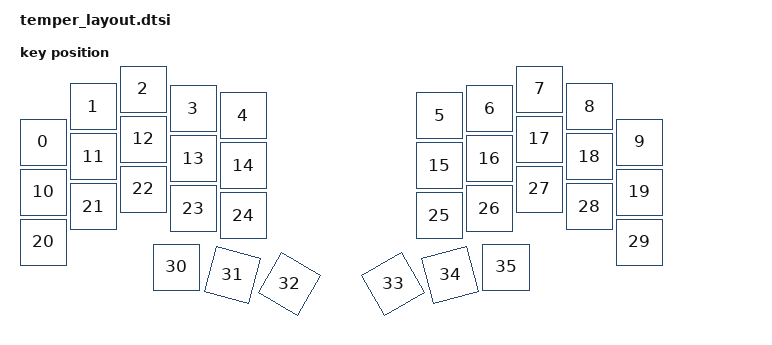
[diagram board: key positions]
#include <physical_layouts.dtsi>
#include "temper_matrix_transform.dtsi"

/ {
    physical_layout0: physical_layout_0 {
        compatible = "zmk,physical-layout";
        display-name = "LAYOUT";

        kscan = <&mock_kscan>;
        transform = <&default_transform>;

        keys  //                     w   h    x    y     rot    rx    ry
            = <&key_physical_attrs 100 100    0  106       0     0     0>
            , <&key_physical_attrs 100 100  100   35       0     0     0>
            , <&key_physical_attrs 100 100  200    0       0     0     0>
            , <&key_physical_attrs 100 100  300   39       0     0     0>
            , <&key_physical_attrs 100 100  400   53       0     0     0>
            , <&key_physical_attrs 100 100  793   53       0     0     0>
            , <&key_physical_attrs 100 100  893   39       0     0     0>
            , <&key_physical_attrs 100 100  993    0       0     0     0>
            , <&key_physical_attrs 100 100 1093   35       0     0     0>
            , <&key_physical_attrs 100 100 1193  106       0     0     0>
            , <&key_physical_attrs 100 100    0  206       0     0     0>
            , <&key_physical_attrs 100 100  100  135       0     0     0>
            , <&key_physical_attrs 100 100  200  100       0     0     0>
            , <&key_physical_attrs 100 100  300  139       0     0     0>
            , <&key_physical_attrs 100 100  400  153       0     0     0>
            , <&key_physical_attrs 100 100  793  153       0     0     0>
            , <&key_physical_attrs 100 100  893  139       0     0     0>
            , <&key_physical_attrs 100 100  993  100       0     0     0>
            , <&key_physical_attrs 100 100 1093  135       0     0     0>
            , <&key_physical_attrs 100 100 1193  206       0     0     0>
            , <&key_physical_attrs 100 100    0  306       0     0     0>
            , <&key_physical_attrs 100 100  100  235       0     0     0>
            , <&key_physical_attrs 100 100  200  200       0     0     0>
            , <&key_physical_attrs 100 100  300  239       0     0     0>
            , <&key_physical_attrs 100 100  400  253       0     0     0>
            , <&key_physical_attrs 100 100  793  253       0     0     0>
            , <&key_physical_attrs 100 100  893  239       0     0     0>
            , <&key_physical_attrs 100 100  993  200       0     0     0>
            , <&key_physical_attrs 100 100 1093  235       0     0     0>
            , <&key_physical_attrs 100 100 1193  306       0     0     0>
            , <&key_physical_attrs 100 100  267  356       0     0     0>
            , <&key_physical_attrs 100 100  379  372    1500   429   422>
            , <&key_physical_attrs 100 100  493  390    3000   543   440>
            , <&key_physical_attrs 100 100  700  390 (-3000)   750   440>
            , <&key_physical_attrs 100 100  814  372 (-1500)   864   422>
            , <&key_physical_attrs 100 100  926  356       0     0     0>
            ;
    };
};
